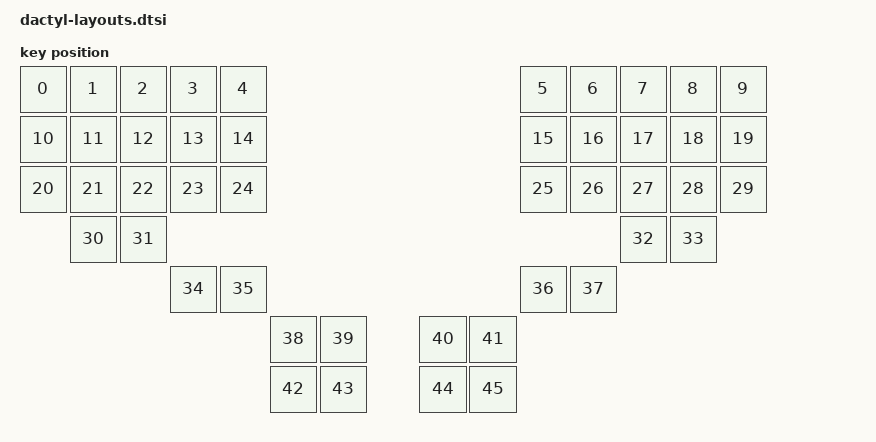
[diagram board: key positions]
#include <physical_layouts.dtsi>

/ {
    physical_layout0: physical_layout0 {
        compatible = "zmk,physical-layout";
        display-name = "dactyl manuform";
        transform = <&default_transform>;
        kscan = <&kscan0>;
         keys = //                     w   h    x    y     rot    rx    ry
              <&key_physical_attrs 100 100    0    0       0     0     0>
            , <&key_physical_attrs 100 100  100    0       0     0     0>
            , <&key_physical_attrs 100 100  200    0       0     0     0>
            , <&key_physical_attrs 100 100  300    0       0     0     0>
            , <&key_physical_attrs 100 100  400    0       0     0     0>
            , <&key_physical_attrs 100 100 1000    0       0     0     0>
            , <&key_physical_attrs 100 100 1100    0       0     0     0>
            , <&key_physical_attrs 100 100 1200    0       0     0     0>
            , <&key_physical_attrs 100 100 1300    0       0     0     0>
            , <&key_physical_attrs 100 100 1400    0       0     0     0>
            , <&key_physical_attrs 100 100    0  100       0     0     0>
            , <&key_physical_attrs 100 100  100  100       0     0     0>
            , <&key_physical_attrs 100 100  200  100       0     0     0>
            , <&key_physical_attrs 100 100  300  100       0     0     0>
            , <&key_physical_attrs 100 100  400  100       0     0     0>
            , <&key_physical_attrs 100 100 1000  100       0     0     0>
            , <&key_physical_attrs 100 100 1100  100       0     0     0>
            , <&key_physical_attrs 100 100 1200  100       0     0     0>
            , <&key_physical_attrs 100 100 1300  100       0     0     0>
            , <&key_physical_attrs 100 100 1400  100       0     0     0>
            , <&key_physical_attrs 100 100    0  200       0     0     0>
            , <&key_physical_attrs 100 100  100  200       0     0     0>
            , <&key_physical_attrs 100 100  200  200       0     0     0>
            , <&key_physical_attrs 100 100  300  200       0     0     0>
            , <&key_physical_attrs 100 100  400  200       0     0     0>
            , <&key_physical_attrs 100 100 1000  200       0     0     0>
            , <&key_physical_attrs 100 100 1100  200       0     0     0>
            , <&key_physical_attrs 100 100 1200  200       0     0     0>
            , <&key_physical_attrs 100 100 1300  200       0     0     0>
            , <&key_physical_attrs 100 100 1400  200       0     0     0>
            , <&key_physical_attrs 100 100  100  300       0     0     0>
            , <&key_physical_attrs 100 100  200  300       0     0     0>
            , <&key_physical_attrs 100 100 1200  300       0     0     0>
            , <&key_physical_attrs 100 100 1300  300       0     0     0>
            , <&key_physical_attrs 100 100  300  400       0     0     0>
            , <&key_physical_attrs 100 100  400  400       0     0     0>
            , <&key_physical_attrs 100 100 1000  400       0     0     0>
            , <&key_physical_attrs 100 100 1100  400       0     0     0>
            , <&key_physical_attrs 100 100  500  500       0     0     0>
            , <&key_physical_attrs 100 100  600  500       0     0     0>
            , <&key_physical_attrs 100 100  800  500       0     0     0>
            , <&key_physical_attrs 100 100  900  500       0     0     0>
            , <&key_physical_attrs 100 100  500  600       0     0     0>
            , <&key_physical_attrs 100 100  600  600       0     0     0>
            , <&key_physical_attrs 100 100  800  600       0     0     0>
            , <&key_physical_attrs 100 100  900  600       0     0     0>
            ;
    };

};


